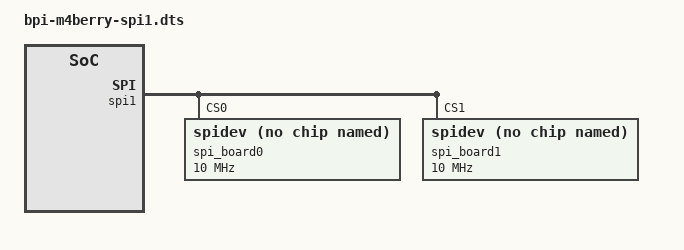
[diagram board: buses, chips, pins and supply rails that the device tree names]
/dts-v1/;
/plugin/;

/ {
	fragment@0 {
		target = <&spi1>;
		__overlay__ {
			status = "okay";

			spi1_cs_number = <0x2>;

			spi_board0@0 {
				compatible = "linux,spidev";
				spi-max-frequency = <10000000>;
				reg = <0x0>;
				status = "okay";
			};

			spi_board1@1 {
				compatible = "linux,spidev";
				spi-max-frequency = <10000000>;
				reg = <0x1>;
				status = "okay";
			};
		};
	};
};
